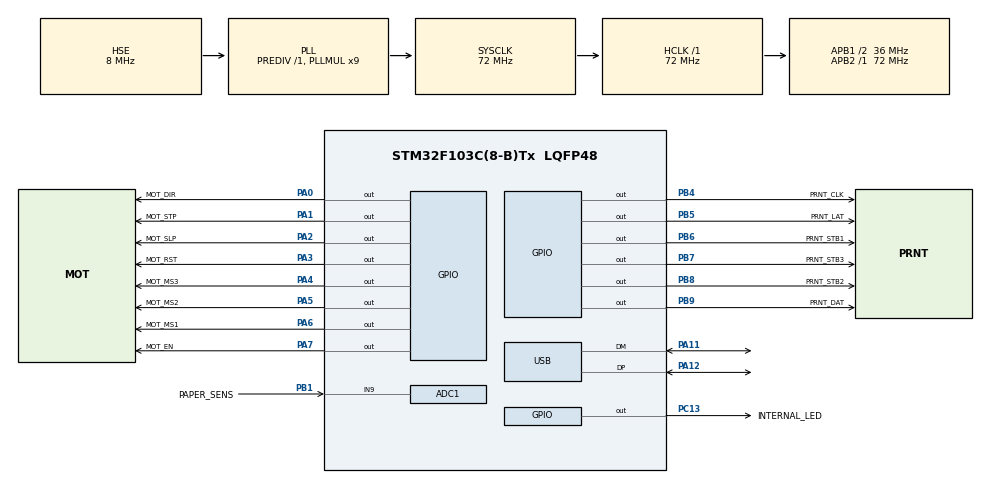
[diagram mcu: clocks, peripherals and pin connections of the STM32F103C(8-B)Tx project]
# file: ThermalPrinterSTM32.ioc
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ADC1.Channel-0\#ChannelRegularConversion=ADC_CHANNEL_9
ADC1.NbrOfConversionFlag=1
ADC1.Rank-0\#ChannelRegularConversion=1
ADC1.SamplingTime-0\#ChannelRegularConversion=ADC_SAMPLETIME_1CYCLE_5
ADC1.master=1
Mcu.Family=STM32F1
Mcu.Name=STM32F103C(8-B)Tx
Mcu.Package=LQFP48
NVIC.PriorityGroup=NVIC_PRIORITYGROUP_4
NVIC.USB_LP_CAN1_RX0_IRQn=true\:0\:0\:false\:false\:true\:false\:true\:true
PA0-WKUP.GPIO_Label=MOT_DIR
PA0-WKUP.GPIO_ModeDefaultOutputPP=GPIO_MODE_OUTPUT_PP
PA0-WKUP.GPIO_PuPd=GPIO_NOPULL
PA0-WKUP.GPIO_Speed=GPIO_SPEED_FREQ_HIGH
PA0-WKUP.PinState=GPIO_PIN_RESET
PA0-WKUP.Signal=GPIO_Output
PA1.GPIO_Label=MOT_STP
PA1.GPIO_ModeDefaultOutputPP=GPIO_MODE_OUTPUT_PP
PA1.GPIO_PuPd=GPIO_NOPULL
PA1.GPIO_Speed=GPIO_SPEED_FREQ_HIGH
PA1.PinState=GPIO_PIN_RESET
PA1.Signal=GPIO_Output
PA11.Mode=Device
PA11.Signal=USB_DM
PA12.Mode=Device
PA12.Signal=USB_DP
PA2.GPIO_Label=MOT_SLP
PA2.GPIO_ModeDefaultOutputPP=GPIO_MODE_OUTPUT_PP
PA2.GPIO_PuPd=GPIO_NOPULL
PA2.GPIO_Speed=GPIO_SPEED_FREQ_HIGH
PA2.PinState=GPIO_PIN_RESET
PA2.Signal=GPIO_Output
PA3.GPIO_Label=MOT_RST
PA3.GPIO_ModeDefaultOutputPP=GPIO_MODE_OUTPUT_PP
PA3.GPIO_PuPd=GPIO_NOPULL
PA3.GPIO_Speed=GPIO_SPEED_FREQ_HIGH
PA3.PinState=GPIO_PIN_SET
PA3.Signal=GPIO_Output
PA4.GPIO_Label=MOT_MS3
PA4.GPIO_ModeDefaultOutputPP=GPIO_MODE_OUTPUT_PP
PA4.GPIO_PuPd=GPIO_NOPULL
PA4.GPIO_Speed=GPIO_SPEED_FREQ_HIGH
PA4.PinState=GPIO_PIN_RESET
PA4.Signal=GPIO_Output
PA5.GPIO_Label=MOT_MS2
PA5.GPIO_ModeDefaultOutputPP=GPIO_MODE_OUTPUT_PP
PA5.GPIO_PuPd=GPIO_NOPULL
PA5.GPIO_Speed=GPIO_SPEED_FREQ_HIGH
PA5.PinState=GPIO_PIN_RESET
PA5.Signal=GPIO_Output
PA6.GPIO_Label=MOT_MS1
PA6.GPIO_ModeDefaultOutputPP=GPIO_MODE_OUTPUT_PP
PA6.GPIO_PuPd=GPIO_NOPULL
PA6.GPIO_Speed=GPIO_SPEED_FREQ_HIGH
PA6.PinState=GPIO_PIN_RESET
PA6.Signal=GPIO_Output
PA7.GPIO_Label=MOT_EN
PA7.GPIO_ModeDefaultOutputPP=GPIO_MODE_OUTPUT_PP
PA7.GPIO_PuPd=GPIO_NOPULL
PA7.GPIO_Speed=GPIO_SPEED_FREQ_HIGH
PA7.PinState=GPIO_PIN_SET
PA7.Signal=GPIO_Output
PB1.GPIO_Label=PAPER_SENS
PB1.Signal=SharedAnalog_PB1
PB4.GPIO_Label=PRNT_CLK
PB4.GPIO_ModeDefaultOutputPP=GPIO_MODE_OUTPUT_PP
PB4.GPIO_PuPd=GPIO_NOPULL
PB4.GPIO_Speed=GPIO_SPEED_FREQ_HIGH
PB4.PinState=GPIO_PIN_RESET
PB4.Signal=GPIO_Output
PB5.GPIO_Label=PRNT_LAT
PB5.GPIO_ModeDefaultOutputPP=GPIO_MODE_OUTPUT_PP
PB5.GPIO_PuPd=GPIO_NOPULL
PB5.GPIO_Speed=GPIO_SPEED_FREQ_HIGH
PB5.PinState=GPIO_PIN_SET
PB5.Signal=GPIO_Output
PB6.GPIO_Label=PRNT_STB1
PB6.GPIO_ModeDefaultOutputPP=GPIO_MODE_OUTPUT_PP
PB6.GPIO_PuPd=GPIO_NOPULL
PB6.GPIO_Speed=GPIO_SPEED_FREQ_HIGH
PB6.PinState=GPIO_PIN_SET
PB6.Signal=GPIO_Output
PB7.GPIO_Label=PRNT_STB3
PB7.GPIO_ModeDefaultOutputPP=GPIO_MODE_OUTPUT_PP
PB7.GPIO_PuPd=GPIO_NOPULL
PB7.GPIO_Speed=GPIO_SPEED_FREQ_HIGH
PB7.PinState=GPIO_PIN_SET
PB7.Signal=GPIO_Output
PB8.GPIO_Label=PRNT_STB2
PB8.GPIO_ModeDefaultOutputPP=GPIO_MODE_OUTPUT_PP
PB8.GPIO_PuPd=GPIO_NOPULL
PB8.GPIO_Speed=GPIO_SPEED_FREQ_HIGH
PB8.PinState=GPIO_PIN_SET
PB8.Signal=GPIO_Output
PB9.GPIO_Label=PRNT_DAT
PB9.GPIO_ModeDefaultOutputPP=GPIO_MODE_OUTPUT_PP
PB9.GPIO_PuPd=GPIO_NOPULL
PB9.GPIO_Speed=GPIO_SPEED_FREQ_HIGH
PB9.PinState=GPIO_PIN_SET
PB9.Signal=GPIO_Output
PC13-TAMPER-RTC.GPIO_Label=INTERNAL_LED
PC13-TAMPER-RTC.Signal=GPIO_Output
PD0-OSC_IN.Mode=HSE-External-Oscillator
PD0-OSC_IN.Signal=RCC_OSC_IN
PD1-OSC_OUT.Mode=HSE-External-Oscillator
PD1-OSC_OUT.Signal=RCC_OSC_OUT
ProjectManager.HeapSize=0x200
ProjectManager.StackSize=0x400
ProjectManager.TargetToolchain=Makefile
RCC.ADCPresc=RCC_ADCPCLK2_DIV6
RCC.AHBFreq_Value=72000000
RCC.APB1CLKDivider=RCC_HCLK_DIV2
RCC.APB1Freq_Value=36000000
RCC.APB1TimFreq_Value=72000000
RCC.APB2Freq_Value=72000000
RCC.APB2TimFreq_Value=72000000
RCC.HCLKFreq_Value=72000000
RCC.PLLMUL=RCC_PLL_MUL9
RCC.SYSCLKFreq_VALUE=72000000
RCC.SYSCLKSource=RCC_SYSCLKSOURCE_PLLCLK
RCC.USBFreq_Value=48000000
RCC.USBPrescaler=RCC_USBCLKSOURCE_PLL_DIV1_5
SH.SharedAnalog_PB1.0=GPIO_Analog
SH.SharedAnalog_PB1.1=ADC1_IN9,IN9
TIM1.Period=0xFFFF
TIM1.Prescaler=72-1
USB_DEVICE.CLASS_NAME_FS=CDC
USB_DEVICE.PRODUCT_STRING_CDC_FS=STM32 CDC (Thermal printer)
USB_DEVICE.VirtualMode=Cdc
USB_DEVICE.VirtualModeFS=Cdc_FS
VP_SYS_VS_ND.Mode=No_Debug
VP_TIM1_VS_ClockSourceINT.Mode=Internal
VP_USB_DEVICE_VS_USB_DEVICE_CDC_FS.Mode=CDC_FS
board=custom

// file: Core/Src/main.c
/* USER CODE BEGIN Header */
/**
    ******************************************************************************
    * @file           : main.c
    * @brief          : Main program body
    ******************************************************************************
    * @attention
    *
    * Copyright (c) 2024 STMicroelectronics.
    * All rights reserved.
    *
    * This software is licensed under terms that can be found in the LICENSE file
    * in the root directory of this software component.
    * If no LICENSE file comes with this software, it is provided AS-IS.
    *
    ******************************************************************************
    */
/* USER CODE END Header */
#include "main.h"
#include "usb_device.h"

/* USER CODE BEGIN Includes */
#include "peripherals.h"
/* USER CODE END Includes */

ADC_HandleTypeDef hadc1;

TIM_HandleTypeDef htim1;

void SystemClock_Config(void);
static void MX_GPIO_Init(void);
static void MX_ADC1_Init(void);
static void MX_TIM1_Init(void);

/* USER CODE BEGIN 0 */
void delay_us(uint16_t us) {
    __HAL_TIM_SET_COUNTER(&htim1,0);  // set the counter value a 0
    while (__HAL_TIM_GET_COUNTER(&htim1) < us);  // wait for the counter to reach the us input in the parameter
}

uint16_t minimalRowDelay = 300;
uint16_t motorStepDelay = 1700;
uint16_t rowBurnTime = 400;
uint8_t pktIn[64], pktOut[64];
uint8_t lineData[54];

void processPacket() {
    if(pktIn[0] == 0x01) { // Ping
        pktOut[0] = 0x71;
        pktOut[1] = pktIn[1];
        return;
    }

    if(pktIn[0] == 0x02) { // Set param
        if(pktIn[1] == 0x01) { // Minimal row delay
            minimalRowDelay = ((uint16_t)pktIn[2] << 8) | pktIn[3];
            pktOut[0] = 0x72;
            pktOut[1] = 0x01;
            return;
        }
        if(pktIn[1] == 0x02) { // Motor step delay
            motorStepDelay = ((uint16_t)pktIn[2] << 8) | pktIn[3];
            pktOut[0] = 0x72;
            pktOut[1] = 0x02;
            return;
        }
        if(pktIn[1] == 0x03) { // Row burn time
            rowBurnTime = ((uint16_t)pktIn[2] << 8) | pktIn[3];
            pktOut[0] = 0x72;
            pktOut[1] = 0x03;
            return;
        }
        return;
    }

    if(pktIn[0] == 0x03) { // Get param
        if(pktIn[1] == 0x01) { // Minimal row delay
            pktOut[0] = 0x73;
            pktOut[1] = 0x01;
            pktOut[2] = (minimalRowDelay >> 8);
            pktOut[3] = (minimalRowDelay & 0xFF);
            return;
        }
        if(pktIn[1] == 0x02) { // Motor step delay
            pktOut[0] = 0x73;
            pktOut[1] = 0x02;
            pktOut[2] = (motorStepDelay >> 8);
            pktOut[3] = (motorStepDelay & 0xFF);
            return;
        }
        if(pktIn[1] == 0x03) { // Row burn time
            pktOut[0] = 0x73;
            pktOut[1] = 0x03;
            pktOut[2] = (rowBurnTime >> 8);
            pktOut[3] = (rowBurnTime & 0xFF);
            return;
        }
        return;
    }

    if(pktIn[0] == 0x04) { // Print line
        uint8_t enableStep = pktIn[1];
        memcpy(lineData, &pktIn[2], 54);
        printerBurnNahuyLine(lineData, rowBurnTime);
        if(enableStep) motorStep();
        delay_us(minimalRowDelay);
        pktOut[0] = 0x74;
        return;
    }

    if(pktIn[0] == 0x05) { // Motor step
        uint8_t direction = pktIn[1];
        uint16_t stepCount = ((uint16_t)pktIn[2] << 8) | pktIn[3];
        motorSetDirection(direction);
        for(uint16_t i = 0; i < stepCount; i++) {
            motorStep();
            delay_us(motorStepDelay);
        }
        motorSetDirection(0);
        pktOut[0] = 0x75;
        return;
    }

    if(pktIn[0] == 0x06) { // Enable/disable motor
        uint8_t enable = pktIn[1];
        motorSetEnabled(enable);
        pktOut[0] = 0x76;
        return;
    }
}
/* USER CODE END 0 */

int main(void)
{

    /* MCU Configuration--------------------------------------------------------*/

    /* Reset of all peripherals, Initializes the Flash interface and the Systick. */
    HAL_Init();

    /* Configure the system clock */
    SystemClock_Config();

    /* Initialize all configured peripherals */
    MX_GPIO_Init();
    MX_USB_DEVICE_Init();
    MX_ADC1_Init();
    MX_TIM1_Init();
    /* USER CODE BEGIN 2 */
    HAL_TIM_Base_Start(&htim1);
    blinkLed(100, 30);
    motorSetEnabled(0);
    motorReset();
    motorSetDirection(0);
    /* USER CODE END 2 */

    /* Infinite loop */
    /* USER CODE BEGIN WHILE */
    cdc_init();

    while(1) {
        if(cdc_queueAvailable() < 64) continue;
        cdc_queueRead(pktIn, 64);
        processPacket();
        CDC_Transmit_FS(pktOut, 64);
        // delay_us(500);
        /* USER CODE END WHILE */

    }
}

void SystemClock_Config(void)
{
    RCC_OscInitTypeDef RCC_OscInitStruct = {0};
    RCC_ClkInitTypeDef RCC_ClkInitStruct = {0};
    RCC_PeriphCLKInitTypeDef PeriphClkInit = {0};

    /** Initializes the RCC Oscillators according to the specified parameters
    * in the RCC_OscInitTypeDef structure.
    */
    RCC_OscInitStruct.OscillatorType = RCC_OSCILLATORTYPE_HSE;
    RCC_OscInitStruct.HSEState = RCC_HSE_ON;
    RCC_OscInitStruct.HSEPredivValue = RCC_HSE_PREDIV_DIV1;
    RCC_OscInitStruct.HSIState = RCC_HSI_ON;
    RCC_OscInitStruct.PLL.PLLState = RCC_PLL_ON;
    RCC_OscInitStruct.PLL.PLLSource = RCC_PLLSOURCE_HSE;
    RCC_OscInitStruct.PLL.PLLMUL = RCC_PLL_MUL9;
    if (HAL_RCC_OscConfig(&RCC_OscInitStruct) != HAL_OK)
    {
    Error_Handler();
    }

    /** Initializes the CPU, AHB and APB buses clocks
    */
    RCC_ClkInitStruct.ClockType = RCC_CLOCKTYPE_HCLK|RCC_CLOCKTYPE_SYSCLK
                                |RCC_CLOCKTYPE_PCLK1|RCC_CLOCKTYPE_PCLK2;
    RCC_ClkInitStruct.SYSCLKSource = RCC_SYSCLKSOURCE_PLLCLK;
    RCC_ClkInitStruct.AHBCLKDivider = RCC_SYSCLK_DIV1;
    RCC_ClkInitStruct.APB1CLKDivider = RCC_HCLK_DIV2;
    RCC_ClkInitStruct.APB2CLKDivider = RCC_HCLK_DIV1;

    if (HAL_RCC_ClockConfig(&RCC_ClkInitStruct, FLASH_LATENCY_2) != HAL_OK)
    {
    Error_Handler();
    }
    PeriphClkInit.PeriphClockSelection = RCC_PERIPHCLK_ADC|RCC_PERIPHCLK_USB;
    PeriphClkInit.AdcClockSelection = RCC_ADCPCLK2_DIV6;
    PeriphClkInit.UsbClockSelection = RCC_USBCLKSOURCE_PLL_DIV1_5;
    if (HAL_RCCEx_PeriphCLKConfig(&PeriphClkInit) != HAL_OK)
    {
    Error_Handler();
    }
}

static void MX_ADC1_Init(void)
{

    ADC_ChannelConfTypeDef sConfig = {0};

    /** Common config
    */
    hadc1.Instance = ADC1;
    hadc1.Init.ScanConvMode = ADC_SCAN_DISABLE;
    hadc1.Init.ContinuousConvMode = DISABLE;
    hadc1.Init.DiscontinuousConvMode = DISABLE;
    hadc1.Init.ExternalTrigConv = ADC_SOFTWARE_START;
    hadc1.Init.DataAlign = ADC_DATAALIGN_RIGHT;
    hadc1.Init.NbrOfConversion = 1;
    if (HAL_ADC_Init(&hadc1) != HAL_OK)
    {
    Error_Handler();
    }

    /** Configure Regular Channel
    */
    sConfig.Channel = ADC_CHANNEL_9;
    sConfig.Rank = ADC_REGULAR_RANK_1;
    sConfig.SamplingTime = ADC_SAMPLETIME_1CYCLE_5;
    if (HAL_ADC_ConfigChannel(&hadc1, &sConfig) != HAL_OK)
    {
    Error_Handler();
    }

}

static void MX_TIM1_Init(void)
{

    TIM_ClockConfigTypeDef sClockSourceConfig = {0};
    TIM_MasterConfigTypeDef sMasterConfig = {0};

    htim1.Instance = TIM1;
    htim1.Init.Prescaler = 72-1;
    htim1.Init.CounterMode = TIM_COUNTERMODE_UP;
    htim1.Init.Period = 0xFFFF;
    htim1.Init.ClockDivision = TIM_CLOCKDIVISION_DIV1;
    htim1.Init.RepetitionCounter = 0;
    htim1.Init.AutoReloadPreload = TIM_AUTORELOAD_PRELOAD_DISABLE;
    if (HAL_TIM_Base_Init(&htim1) != HAL_OK)
    {
    Error_Handler();
    }
    sClockSourceConfig.ClockSource = TIM_CLOCKSOURCE_INTERNAL;
    if (HAL_TIM_ConfigClockSource(&htim1, &sClockSourceConfig) != HAL_OK)
    {
    Error_Handler();
    }
    sMasterConfig.MasterOutputTrigger = TIM_TRGO_RESET;
    sMasterConfig.MasterSlaveMode = TIM_MASTERSLAVEMODE_DISABLE;
    if (HAL_TIMEx_MasterConfigSynchronization(&htim1, &sMasterConfig) != HAL_OK)
    {
    Error_Handler();
    }

}

static void MX_GPIO_Init(void)
{
    GPIO_InitTypeDef GPIO_InitStruct = {0};

    /* GPIO Ports Clock Enable */
    __HAL_RCC_GPIOC_CLK_ENABLE();
    __HAL_RCC_GPIOD_CLK_ENABLE();
    __HAL_RCC_GPIOA_CLK_ENABLE();
    __HAL_RCC_GPIOB_CLK_ENABLE();

    /*Configure GPIO pin Output Level */
    HAL_GPIO_WritePin(INTERNAL_LED_GPIO_Port, INTERNAL_LED_Pin, GPIO_PIN_RESET);

    /*Configure GPIO pin Output Level */
    HAL_GPIO_WritePin(GPIOA, MOT_DIR_Pin|MOT_STP_Pin|MOT_SLP_Pin|MOT_MS3_Pin
                            |MOT_MS2_Pin|MOT_MS1_Pin, GPIO_PIN_RESET);

    /*Configure GPIO pin Output Level */
    HAL_GPIO_WritePin(GPIOA, MOT_RST_Pin|MOT_EN_Pin, GPIO_PIN_SET);

    /*Configure GPIO pin Output Level */
    HAL_GPIO_WritePin(PRNT_CLK_GPIO_Port, PRNT_CLK_Pin, GPIO_PIN_RESET);

    /*Configure GPIO pin Output Level */
    HAL_GPIO_WritePin(GPIOB, PRNT_LAT_Pin|PRNT_STB1_Pin|PRNT_STB3_Pin|PRNT_STB2_Pin
                            |PRNT_DAT_Pin, GPIO_PIN_SET);

    /*Configure GPIO pin : INTERNAL_LED_Pin */
    GPIO_InitStruct.Pin = INTERNAL_LED_Pin;
    GPIO_InitStruct.Mode = GPIO_MODE_OUTPUT_PP;
    GPIO_InitStruct.Pull = GPIO_NOPULL;
    GPIO_InitStruct.Speed = GPIO_SPEED_FREQ_LOW;
    HAL_GPIO_Init(INTERNAL_LED_GPIO_Port, &GPIO_InitStruct);

    /*Configure GPIO pins : MOT_DIR_Pin MOT_STP_Pin MOT_SLP_Pin MOT_RST_Pin
                             MOT_MS3_Pin MOT_MS2_Pin MOT_MS1_Pin MOT_EN_Pin */
    GPIO_InitStruct.Pin = MOT_DIR_Pin|MOT_STP_Pin|MOT_SLP_Pin|MOT_RST_Pin
                            |MOT_MS3_Pin|MOT_MS2_Pin|MOT_MS1_Pin|MOT_EN_Pin;
    GPIO_InitStruct.Mode = GPIO_MODE_OUTPUT_PP;
    GPIO_InitStruct.Pull = GPIO_NOPULL;
    GPIO_InitStruct.Speed = GPIO_SPEED_FREQ_HIGH;
    HAL_GPIO_Init(GPIOA, &GPIO_InitStruct);

    /*Configure GPIO pins : PRNT_CLK_Pin PRNT_LAT_Pin PRNT_STB1_Pin PRNT_STB3_Pin
                             PRNT_STB2_Pin PRNT_DAT_Pin */
    GPIO_InitStruct.Pin = PRNT_CLK_Pin|PRNT_LAT_Pin|PRNT_STB1_Pin|PRNT_STB3_Pin
                            |PRNT_STB2_Pin|PRNT_DAT_Pin;
    GPIO_InitStruct.Mode = GPIO_MODE_OUTPUT_PP;
    GPIO_InitStruct.Pull = GPIO_NOPULL;
    GPIO_InitStruct.Speed = GPIO_SPEED_FREQ_HIGH;
    HAL_GPIO_Init(GPIOB, &GPIO_InitStruct);

}

void Error_Handler(void)
{
    __disable_irq();
    while (1)
    {
    }
}
